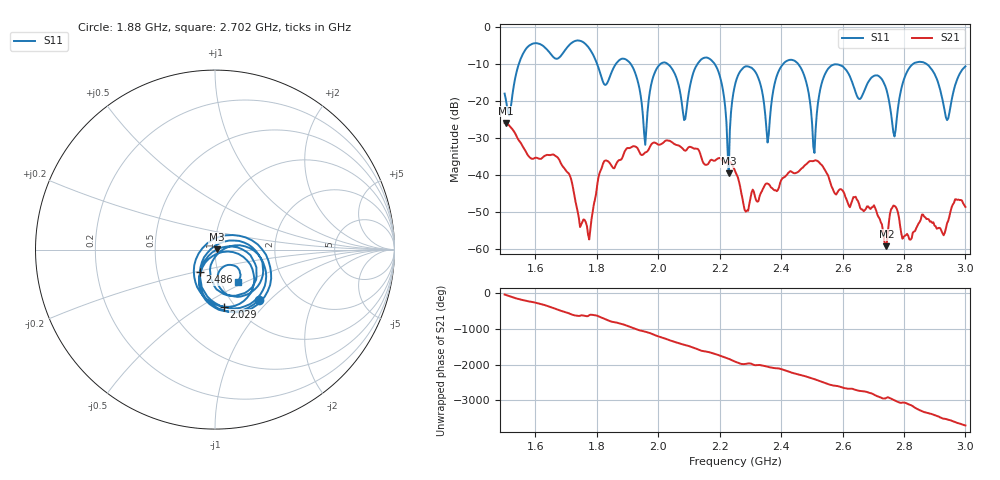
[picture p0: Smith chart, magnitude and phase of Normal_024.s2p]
# HZ S RI R 50
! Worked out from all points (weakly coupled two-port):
!   404 points, 1.5 GHz to 3 GHz, reference 50 ohm
!   highest |S21| = -25.91 dB at 1.504 GHz (marker M1); lowest = -59.2 dB at 2.743 GHz (marker M2)
!   lowest |S11| = -39.5 dB at 2.23 GHz (marker M3), VSWR 1.02, Z = 51.1 + j0.0624 ohm
!   |S11| at or under -10 dB: 2.184 GHz to 2.407 GHz (222.7 MHz wide, 9.7 % of centre); 2.456 GHz to 2.829 GHz (373.3 MHz wide, 14.1 % of centre); 2.874 GHz to end of sweep (the widest 3 of 7)
!   S12 and S22 are empty: the file has one direction only
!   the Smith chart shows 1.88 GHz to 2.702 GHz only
!   S11 on the Smith chart (normalised r, x): 1.88 GHz: 1.33, -0.86; 2.029 GHz: 0.89, -0.63; 2.486 GHz: 0.82, -0.21; 2.702 GHz: 1.20, -0.45
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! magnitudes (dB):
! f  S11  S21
! 1.5 GHz  -18.0  -25.9
! 1.504 GHz  -19.4  -25.9
! 1.753 GHz  -4.0  -52.7
! 1.88 GHz  -8.6  -35.8
! 1.958 GHz  -31.8  -33.9
! 2.002 GHz  -10.4  -31.8
! 2.029 GHz  -9.8  -30.6
! 2.084 GHz  -25.1  -33.3
! 2.177 GHz  -9.3  -36.0
! 2.23 GHz  -39.5  -36.4
! 2.252 GHz  -15.0  -39.2
! 2.356 GHz  -31.2  -42.3
! 2.412 GHz  -9.5  -40.5
! 2.486 GHz  -16.4  -36.7
! 2.501 GHz  -26.4  -36.2
! 2.561 GHz  -10.6  -42.2
! 2.702 GHz  -13.2  -48.1
! 2.743 GHz  -16.9  -59.2
! 2.751 GHz  -19.6  -53.0
! 2.862 GHz  -9.5  -50.7
! 2.94 GHz  -25.1  -53.0
! 3 GHz  -10.6  -48.6
